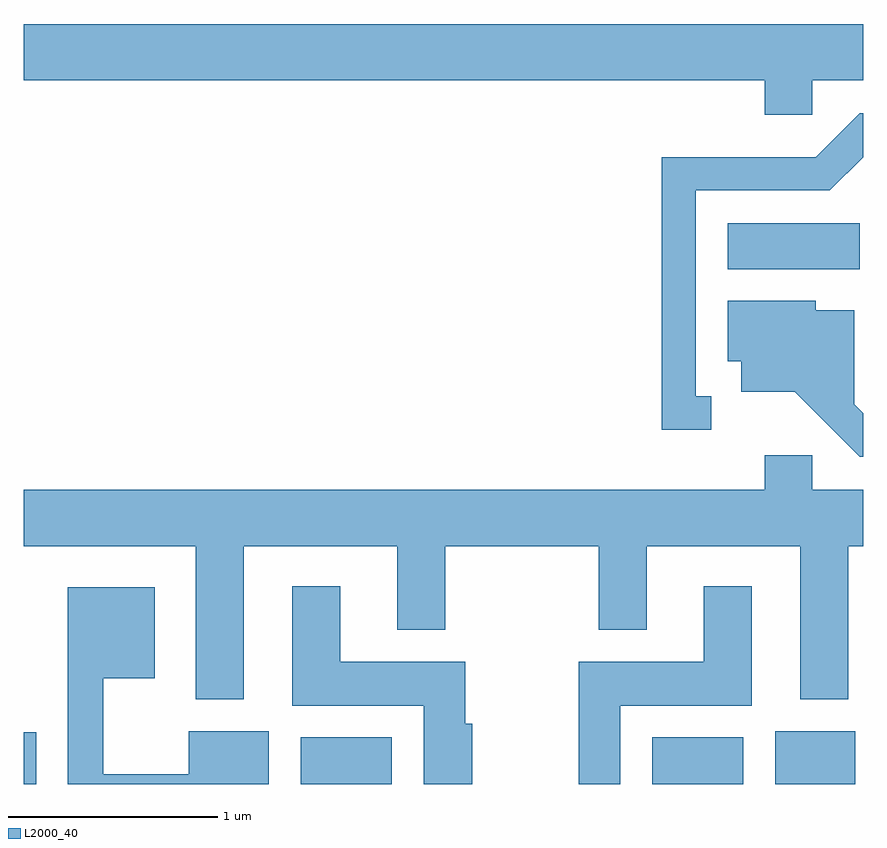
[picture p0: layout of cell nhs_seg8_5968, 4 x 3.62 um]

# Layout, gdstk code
import gdstk
lib = gdstk.Library(unit=1e-6, precision=1e-09)
def R(c, l, rs):  # rectangles x0, y0, x1, y1
    for r in rs: c.add(gdstk.rectangle(r[:2], r[2:], *l))
def P(c, l, *ps):  # polygons
    for p in ps: c.add(gdstk.Polygon(p, *l))
L2000_40 = (2000, 40)

nhs_seg8_5968 = lib.new_cell('nhs_seg8_5968')
R(nhs_seg8_5968, L2000_40, [(363.611,1886.342,363.669,1886.589), (364.931,1886.342,365.364,1886.564), (366.606,1886.342,367.039,1886.564), (367.191,1886.342,367.574,1886.594), (366.966,1888.796,367.594,1889.014)])
P(nhs_seg8_5968, L2000_40, [(367.369,1889.696),(367.611,1889.696),(367.611,1889.964),(363.611,1889.964),(363.611,1889.696),(367.141,1889.696),(367.141,1889.531),(367.369,1889.531)],
  [(366.888,1888.189),(366.814,1888.189),(366.814,1889.171),(367.452,1889.171),(367.611,1889.33),(367.611,1889.539),(367.594,1889.539),(367.384,1889.329),(366.651,1889.329),(366.651,1888.031),(366.888,1888.031)],
  [(367.611,1888.11),(367.569,1888.152),(367.569,1888.599),(367.384,1888.599),(367.384,1888.644),(366.966,1888.644),(366.966,1888.356),(367.031,1888.356),(367.031,1888.211),(367.284,1888.211),(367.594,1887.901),(367.611,1887.901)],
  [(364.659,1887.476),(365.391,1887.476),(365.391,1887.076),(365.619,1887.076),(365.619,1887.476),(366.351,1887.476),(366.351,1887.076),(366.579,1887.076),(366.579,1887.476),(367.311,1887.476),(367.311,1886.746),(367.539,1886.746),(367.539,1887.476),(367.611,1887.476),(367.611,1887.744),(367.369,1887.744),(367.369,1887.909),(367.141,1887.909),(367.141,1887.744),(363.611,1887.744),(363.611,1887.476),(364.431,1887.476),(364.431,1886.746),(364.659,1886.746)],
  [(366.454,1886.716),(367.079,1886.716),(367.079,1887.284),(366.851,1887.284),(366.851,1886.924),(366.256,1886.924),(366.256,1886.342),(366.454,1886.342)],
  [(365.749,1886.629),(365.714,1886.629),(365.714,1886.924),(365.119,1886.924),(365.119,1887.284),(364.891,1887.284),(364.891,1886.716),(365.516,1886.716),(365.516,1886.342),(365.749,1886.342)],
  [(364.779,1886.594),(364.396,1886.594),(364.396,1886.389),(363.989,1886.389),(363.989,1886.846),(364.234,1886.846),(364.234,1887.279),(363.821,1887.279),(363.821,1886.342),(364.779,1886.342)])

lib.write_gds('nhs_seg8_5968.gds')
